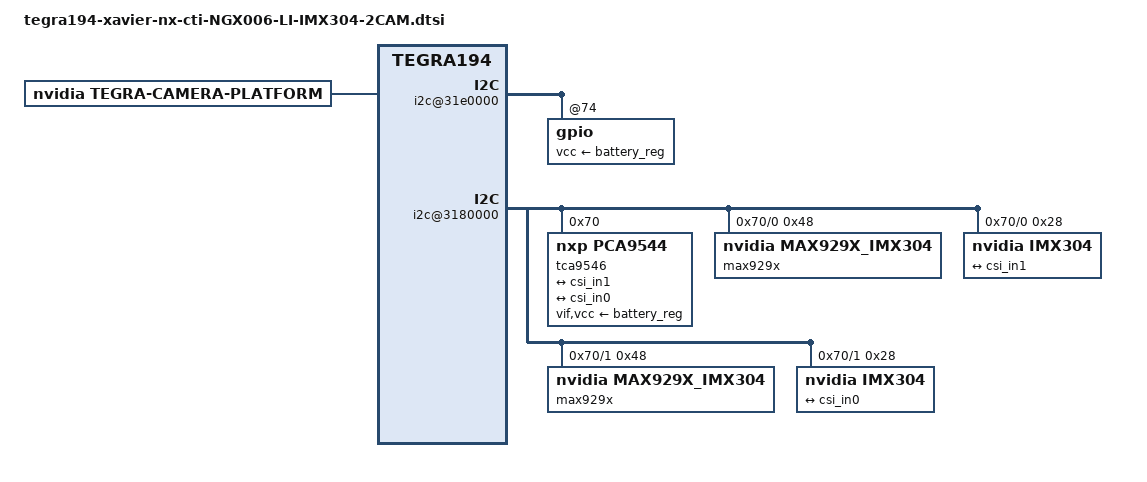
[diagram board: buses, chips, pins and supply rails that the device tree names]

#define CAM_I2C_MUX TEGRA194_AON_GPIO(CC, 3)
#define CAMERA_I2C_MUX_BUS(x) (0x1E + x)

/ {
    i2c@31e0000 {
        gpio@74{    //Camera GPIO
            status = "okay";
            vcc-supply = <&battery_reg>;

            camera-rst{
                gpio-hog;
                output-low;
                gpios = <0 0 2 0 >;
                label = "des_a_rst", "des_b_rst";
            };
        };
    };

	host1x {
        vi@15c10000 {
            num-channels = <2>;
            ports {
                #address-cells = <1>;
                #size-cells = <0>;
                port@0 {
                    reg = <0>;
                    vi_in0: endpoint {
                        vc-id = <0>;
                        port-index = <0>;
                        bus-width = <2>;
                        remote-endpoint = <&csi_out0>;
                    };
                };
                port@1 {
                    reg = <1>;
                    vi_in1: endpoint {
                        vc-id = <0>;
                        port-index = <2>;
                        bus-width = <2>;
                        remote-endpoint = <&csi_out1>;
                    };
                };
            };
        };
        nvcsi@15a00000 {
            num-channels = <2>;
            #address-cells = <1>;
            #size-cells = <0>;
            channel@0 {
                reg = <0>;
                ports {
                    #address-cells = <1>;
                    #size-cells = <0>;
                    port@0 {
                        reg = <0>;
                        csi_in0: endpoint@0 {
                            port-index = <0>;
                            bus-width = <2>;
                            remote-endpoint = <&cam_out0>;
                        };
                    };
                    port@1 {
                        reg = <1>;
                        csi_out0: endpoint@1 {
                            remote-endpoint = <&vi_in0>;
                        };
                    };
                };
            };

            channel@1 {
                reg = <1>;
                ports {
                    #address-cells = <1>;
                    #size-cells = <0>;
                    port@0 {
                        reg = <0>;
                        csi_in1: endpoint@0 {
                            port-index = <2>;
                            bus-width = <2>;
                            remote-endpoint = <&cam_out1>;
                        };
                    };
                    port@1 {
                        reg = <1>;
                        csi_out1: endpoint@1 {
                            remote-endpoint = <&vi_in1>;
                        };
                    };
                };
            };
        };
	};


	i2c@3180000 {
    	tca9546@70 {
            compatible = "nxp,pca9544";
            reg = <0x70>;
            #address-cells = <1>;
            #size-cells = <0>;
            skip_mux_detect = "yes";
            vif-supply = <&battery_reg>;
            vcc-supply = <&battery_reg>;

            vcc_lp = "vcc";
            force_bus_start = <CAMERA_I2C_MUX_BUS(0)>;
            i2c@0{
                reg = <0>;
                i2c-mux,deselect-on-exit;
                #address-cells = <1>;
                #size-cells = <0>;

                max929x@48 {
                    compatible = "nvidia,max929x_imx304";
                    reg = <0x48>;
                    sensor-number = <1>;
                    //reset-gpios = <&gpio_i2c_8_74 0 GPIO_ACTIVE_HIGH>;
                };

                imx304@28 {
                    /* Define any required hw resources needed by driver */
                    /* ie. clocks, io pins, power sources */
                    clocks = <&bpmp_clks TEGRA194_CLK_EXTPERIPH1>,
                             <&bpmp_clks TEGRA194_CLK_PLLP_OUT0>;
                    clock-names = "extperiph1", "pllp_grtba";
                    mclk = "extperiph1";
	
                    compatible = "nvidia,imx304";

                    reg = <0x28>;
                    /* Physical dimensions of sensor */
                    physical_w = "15.0";
                    physical_h = "12.5";
                    devnode = "video1";
                    sensor_model ="imx304";

                    /* Defines number of frames to be dropped by driver internally after applying */
                    /* sensor crop settings. Some sensors send corrupt frames after applying */
                    /* crop co-ordinates */
                    post_crop_frame_drop = "0";

                    /* Convert Gain to unit of dB (decibel) befor passing to kernel driver */
                    //use_decibel_gain = "true";
                    
                    delayed_gain = "true";

                    /* enable CID_SENSOR_MODE_ID for sensor modes selection */
                    use_sensor_mode_id = "true";

                    mode0 {/*mode IMX304_MODE_4096X3018_CROP_30FPS*/
                        mclk_khz = "37125";
                        num_lanes = "2";
                        tegra_sinterface = "serial_c";
                        vc_id = "0";
                        discontinuous_clk = "no";
                        dpcm_enable = "false";
                        cil_settletime = "0";
                        dynamic_pixel_bit_depth = "12";
                        csi_pixel_bit_depth = "12";
                        mode_type = "bayer";
                        pixel_phase = "bggr";

                        active_w = "4096";
                        active_h = "3018";
                        readout_orientation = "0";
                        line_length = "4304";
                        inherent_gain = "1";
                        mclk_multiplier = "6";
                        pix_clk_hz = "198000000";
                        serdes_pix_clk_hz = "1500000000";
                        phy_mode = "DPHY";

                        gain_factor = "1";
                        min_gain_val = "0"; /* dB */
                        max_gain_val = "480"; /* dB */
                        step_gain_val = "1"; /* 0.3 */
                        default_gain = "0";

                        min_hdr_ratio = "1";
                        max_hdr_ratio = "1";

                        framerate_factor = "1000000";
                        min_framerate = "1500000";
                        max_framerate = "30000000";
                        step_framerate = "1";
                        default_framerate = "30000000";
                        exposure_factor = "1000000";
                        min_exp_time = "30"; /*us, 2 lines*/
                        max_exp_time = "660000";
                        step_exp_time = "1";
                        default_exp_time = "30";/* us */
                        embedded_metadata_height = "0";
                    };
                    ports {
                        #address-cells = <1>;
                        #size-cells = <0>;
                        port@0 {
                            reg = <0>;
                            cam_out1: endpoint {
                                vc-id = <0>;
                                port-index = <2>;
                                bus-width = <2>;
                                remote-endpoint = <&csi_in1>;
                            };
                        };
                    };
                };

            };


            i2c@1 {
                reg = <1>;
                i2c-mux,deselect-on-exit;
                #address-cells = <1>;
                #size-cells = <0>;

                max929x@48 {
                    compatible = "nvidia,max929x_imx304";
                    reg = <0x48>;
                    sensor-number = <1>;
                    //reset-gpios = <&gpio_i2c_8_74 0 GPIO_ACTIVE_HIGH>;
                };

                imx304@28 {
                    /* Define any required hw resources needed by driver */
                    /* ie. clocks, io pins, power sources */
                    clocks = <&bpmp_clks TEGRA194_CLK_EXTPERIPH1>,
                             <&bpmp_clks TEGRA194_CLK_PLLP_OUT0>;
                    clock-names = "extperiph1", "pllp_grtba";
                    mclk = "extperiph1";
	
                    compatible = "nvidia,imx304";

                    reg = <0x28>;
                    /* Physical dimensions of sensor */
                    physical_w = "15.0";
                    physical_h = "12.5";
                    devnode = "video0";
                    sensor_model ="imx304";

                    /* Defines number of frames to be dropped by driver internally after applying */
                    /* sensor crop settings. Some sensors send corrupt frames after applying */
                    /* crop co-ordinates */
                    post_crop_frame_drop = "0";

                    /* Convert Gain to unit of dB (decibel) befor passing to kernel driver */
                    //use_decibel_gain = "true";
                    
                    delayed_gain = "true";

                    /* enable CID_SENSOR_MODE_ID for sensor modes selection */
                    use_sensor_mode_id = "true";

                    mode0 {/*mode IMX304_MODE_4096X3018_CROP_30FPS*/
                        mclk_khz = "37125";
                        num_lanes = "2";
                        tegra_sinterface = "serial_a";
                        vc_id = "0";
                        discontinuous_clk = "no";
                        dpcm_enable = "false";
                        cil_settletime = "0";
                        dynamic_pixel_bit_depth = "12";
                        csi_pixel_bit_depth = "12";
                        mode_type = "bayer";
                        pixel_phase = "bggr";

                        active_w = "4096";
                        active_h = "3018";
                        readout_orientation = "0";
                        line_length = "4304";
                        inherent_gain = "1";
                        mclk_multiplier = "6";
                        pix_clk_hz = "198000000";
                        serdes_pix_clk_hz = "1500000000";
                        phy_mode = "DPHY";

                        gain_factor = "1";
                        min_gain_val = "0"; /* dB */
                        max_gain_val = "480"; /* dB */
                        step_gain_val = "1"; /* 0.3 */
                        default_gain = "0";

                        min_hdr_ratio = "1";
                        max_hdr_ratio = "1";

                        framerate_factor = "1000000";
                        min_framerate = "1500000";
                        max_framerate = "30000000";
                        step_framerate = "1";
                        default_framerate = "30000000";
                        exposure_factor = "1000000";
                        min_exp_time = "30"; /*us, 2 lines*/
                        max_exp_time = "660000";
                        step_exp_time = "1";
                        default_exp_time = "30";/* us */
                        embedded_metadata_height = "0";
                    };
                    ports {
                        #address-cells = <1>;
                        #size-cells = <0>;
                        port@0 {
                            reg = <0>;
                            cam_out0: endpoint {
                                vc-id = <0>;
                                port-index = <0>;
                                bus-width = <2>;
                                remote-endpoint = <&csi_in0>;
                            };
                        };
                    };
                };
            };
        };
    };

    lens_imx304@RBPCV2 {
        min_focus_distance = "0.0";
        hyper_focal = "0.0";
        focal_length = "3.04";
        f_number = "2.0";
        aperture = "0.0";
    };


	tegra-camera-platform {
		compatible = "nvidia, tegra-camera-platform";
		/**
		* Physical settings to calculate max ISO BW
		*
		* num_csi_lanes = <>;
		* Total number of CSI lanes when all cameras are active
		*
		* max_lane_speed = <>;
		* Max lane speed in Kbit/s
		*
		* min_bits_per_pixel = <>;
		* Min bits per pixel
		*
		* vi_peak_byte_per_pixel = <>;
		* Max byte per pixel for the VI ISO case
		*
		* vi_bw_margin_pct = <>;
		* Vi bandwidth margin in percentage
		*
		* max_pixel_rate = <>;
		* Max pixel rate in Kpixel/s for the ISP ISO case
		*
		* isp_peak_byte_per_pixel = <>;
		* Max byte per pixel for the ISP ISO case
		*
		* isp_bw_margin_pct = <>;
		* Isp bandwidth margin in percentage
		*/
		num_csi_lanes = <4>;
	//	max_lane_speed = <4000000>;
        max_lane_speed = <1500000>;
		min_bits_per_pixel = <10>;
		vi_peak_byte_per_pixel = <2>;
		vi_bw_margin_pct = <25>;
		isp_peak_byte_per_pixel = <5>;
		isp_bw_margin_pct = <25>;
        max_pixel_rate = <240000>;
		/**
		 * The general guideline for naming badge_info contains 3 parts, and is as follows,
		 * The first part is the camera_board_id for the module; if the module is in a FFD
		 * platform, then use the platform name for this part.
		 * The second part contains the position of the module, ex. "rear" or "front".
		 * The third part contains the last 6 characters of a part number which is found
		 * in the module's specsheet from the vender.
		 */
		modules {
			module0 {
				badge = "imx304_front_liimx304";
				position = "front";
				orientation = "1";
				drivernode0 {
					/* Declare PCL support driver (classically known as guid)  */
					pcl_id = "v4l2_sensor";
					/* Driver v4l2 device name */
					devname = "imx304 31-0028";
					/* Declare the device-tree hierarchy to driver instance */
					proc-device-tree = "/proc/device-tree/i2c@3180000/tca9546@70/i2c@1/imx304@28";
				};
                drivernode1 {
                    pcl_id = "v4l2_lens";
                    proc-device-tree = "/proc/device-tree/lens_imx304@RBPCV2/";
                };
			};

			module1 {
				badge = "imx304_back_liimx304";
				position = "back";
				orientation = "1";
				drivernode0 {
					/* Declare PCL support driver (classically known as guid)  */
					pcl_id = "v4l2_sensor";
					/* Driver v4l2 device name */
					devname = "imx304 30-0028";
					/* Declare the device-tree hierarchy to driver instance */
					proc-device-tree = "/proc/device-tree/i2c@3180000/tca9546@70/i2c@0/imx304@28";
				};
                drivernode1 {
                    pcl_id = "v4l2_lens";
                    proc-device-tree = "/proc/device-tree/lens_imx304@RBPCV2/";
                };
			};
		};
	};
};

